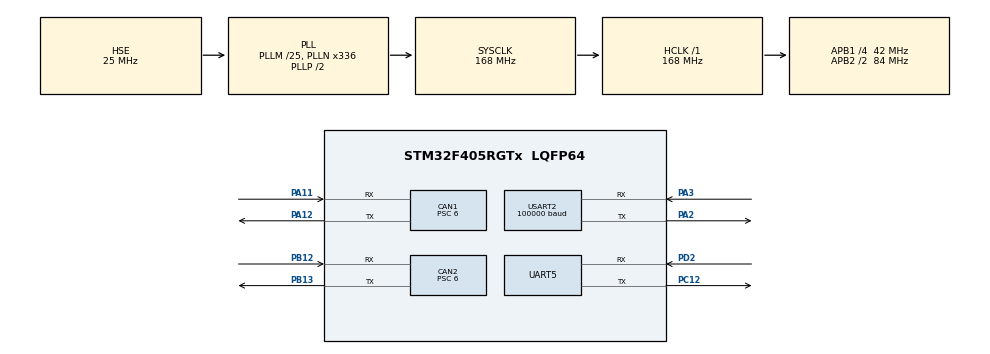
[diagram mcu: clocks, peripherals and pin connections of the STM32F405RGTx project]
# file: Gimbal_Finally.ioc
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CAN1.BS1=CAN_BS1_4TQ
CAN1.BS2=CAN_BS2_2TQ
CAN1.CalculateBaudRate=1000000
CAN1.CalculateTimeBit=1000
CAN1.CalculateTimeQuantum=142.85714285714286
CAN1.Prescaler=6
CAN2.BS1=CAN_BS1_4TQ
CAN2.BS2=CAN_BS2_2TQ
CAN2.CalculateBaudRate=1000000
CAN2.CalculateTimeBit=1000
CAN2.CalculateTimeQuantum=142.85714285714286
CAN2.Prescaler=6
Dma.Request0=USART2_RX
Dma.USART2_RX.0.Direction=DMA_PERIPH_TO_MEMORY
Dma.USART2_RX.0.FIFOMode=DMA_FIFOMODE_DISABLE
Dma.USART2_RX.0.Instance=DMA1_Stream5
Dma.USART2_RX.0.MemDataAlignment=DMA_MDATAALIGN_BYTE
Dma.USART2_RX.0.MemInc=DMA_MINC_ENABLE
Dma.USART2_RX.0.Mode=DMA_NORMAL
Dma.USART2_RX.0.PeriphDataAlignment=DMA_PDATAALIGN_BYTE
Dma.USART2_RX.0.PeriphInc=DMA_PINC_DISABLE
Dma.USART2_RX.0.Priority=DMA_PRIORITY_LOW
FREERTOS.BinarySemaphores01=Semaphone_Protection,Dynamic,NULL
FREERTOS.INCLUDE_vTaskDelayUntil=1
FREERTOS.Tasks01=CAN_Transmit_Ta,0,256,CAN_Transmit,Default,NULL,Dynamic,NULL,NULL;Semaphore_Task,-3,128,Semaphore,Default,NULL,Dynamic,NULL,NULL;PID_Calculate_T,-3,1280,PID_Calculation,Default,NULL,Dynamic,NULL,NULL;Mpu_Task,0,128,Mpu_Get,Default,NULL,Dynamic,NULL,NULL;Print_Task,-3,128,Print,Default,NULL,Dynamic,NULL,NULL;State_Machine_T,-3,128,State_Machine,Default,NULL,Dynamic,NULL,NULL
Mcu.Family=STM32F4
Mcu.Name=STM32F405RGTx
Mcu.Package=LQFP64
NVIC.CAN1_RX0_IRQn=true\:5\:0\:false\:false\:true\:true\:true\:true\:true
NVIC.CAN2_RX0_IRQn=true\:5\:0\:false\:false\:true\:true\:true\:true\:true
NVIC.DMA1_Stream5_IRQn=true\:5\:0\:false\:false\:true\:true\:false\:true\:true
NVIC.PriorityGroup=NVIC_PRIORITYGROUP_4
NVIC.TIM1_BRK_TIM9_IRQn=true\:15\:0\:false\:false\:true\:false\:false\:true\:true
NVIC.TimeBase=TIM1_BRK_TIM9_IRQn
NVIC.TimeBaseIP=TIM9
NVIC.USART2_IRQn=true\:5\:0\:false\:false\:true\:true\:true\:true\:true
PA11.Mode=CAN_Activate
PA11.Signal=CAN1_RX
PA12.Mode=CAN_Activate
PA12.Signal=CAN1_TX
PA13.Mode=Serial_Wire
PA13.Signal=SYS_JTMS-SWDIO
PA14.Mode=Serial_Wire
PA14.Signal=SYS_JTCK-SWCLK
PA2.Mode=Asynchronous
PA2.Signal=USART2_TX
PA3.Mode=Asynchronous
PA3.Signal=USART2_RX
PB12.Mode=CAN_Activate
PB12.Signal=CAN2_RX
PB13.Mode=CAN_Activate
PB13.Signal=CAN2_TX
PC12.Mode=Asynchronous
PC12.Signal=UART5_TX
PC14-OSC32_IN.Mode=LSE-External-Oscillator
PC14-OSC32_IN.Signal=RCC_OSC32_IN
PC15-OSC32_OUT.Mode=LSE-External-Oscillator
PC15-OSC32_OUT.Signal=RCC_OSC32_OUT
PD2.Mode=Asynchronous
PD2.Signal=UART5_RX
PH0-OSC_IN.Mode=HSE-External-Oscillator
PH0-OSC_IN.Signal=RCC_OSC_IN
PH1-OSC_OUT.Mode=HSE-External-Oscillator
PH1-OSC_OUT.Signal=RCC_OSC_OUT
ProjectManager.HeapSize=0x200
ProjectManager.StackSize=0x400
ProjectManager.TargetToolchain=MDK-ARM V5.32
RCC.48MHZClocksFreq_Value=84000000
RCC.AHBFreq_Value=168000000
RCC.APB1CLKDivider=RCC_HCLK_DIV4
RCC.APB1Freq_Value=42000000
RCC.APB1TimFreq_Value=84000000
RCC.APB2CLKDivider=RCC_HCLK_DIV2
RCC.APB2Freq_Value=84000000
RCC.APB2TimFreq_Value=168000000
RCC.CortexFreq_Value=168000000
RCC.HCLKFreq_Value=168000000
RCC.HSE_VALUE=25000000
RCC.HSI_VALUE=16000000
RCC.PLLM=25
RCC.PLLN=336
RCC.PLLSourceVirtual=RCC_PLLSOURCE_HSE
RCC.SYSCLKFreq_VALUE=168000000
RCC.SYSCLKSource=RCC_SYSCLKSOURCE_PLLCLK
RCC.VCOOutputFreq_Value=336000000
UART5.VirtualMode=Asynchronous
USART2.BaudRate=100000
USART2.Parity=PARITY_EVEN
USART2.VirtualMode=VM_ASYNC
USART2.WordLength=WORDLENGTH_9B
VP_FREERTOS_VS_CMSIS_V1.Mode=CMSIS_V1
VP_SYS_VS_tim9.Mode=TIM9
board=custom

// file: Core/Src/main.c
/* USER CODE BEGIN Header */
/**
 ******************************************************************************
 * @file           : main.c
 * @brief          : Main program body
 ******************************************************************************
 * @attention
 *
 * Copyright (c) 2024 STMicroelectronics.
 * All rights reserved.
 *
 * This software is licensed under terms that can be found in the LICENSE file
 * in the root directory of this software component.
 * If no LICENSE file comes with this software, it is provided AS-IS.
 *
 ******************************************************************************
 */
/* USER CODE END Header */
#include "main.h"
#include "cmsis_os.h"
#include "can.h"
#include "dma.h"
#include "usart.h"
#include "gpio.h"

/* USER CODE BEGIN Includes */
#include "freertos.h"
#include "task.h"
#include "MPU6050.h"
#include "inv_mpu.h"
#include "mycan.h"
/* USER CODE END Includes */

/* USER CODE BEGIN PTD */
#define LENGTH 100 // 宏定�??????
/* USER CODE END PTD */

/* USER CODE BEGIN PD */
extern uint8_t RxBuffer[];
/* USER CODE END PD */

void SystemClock_Config(void);
void MX_FREERTOS_Init(void);

int main(void)
{

  /* MCU Configuration--------------------------------------------------------*/

  /* Reset of all peripherals, Initializes the Flash interface and the Systick. */
  HAL_Init();

  /* Configure the system clock */
  SystemClock_Config();

  /* Initialize all configured peripherals */
  MX_GPIO_Init();
  MX_DMA_Init();
  MX_CAN1_Init();
  MX_CAN2_Init();
  MX_UART5_Init();
  MX_USART2_UART_Init();

  /* Call init function for freertos objects (in freertos.c) */
  MX_FREERTOS_Init();

  /* Start scheduler */
  osKernelStart();
  /* We should never get here as control is now taken by the scheduler */
  /* Infinite loop */
  while (1)
  {

  }
}

void SystemClock_Config(void)
{
  RCC_OscInitTypeDef RCC_OscInitStruct = {0};
  RCC_ClkInitTypeDef RCC_ClkInitStruct = {0};

  /** Configure the main internal regulator output voltage
   */
  __HAL_RCC_PWR_CLK_ENABLE();
  __HAL_PWR_VOLTAGESCALING_CONFIG(PWR_REGULATOR_VOLTAGE_SCALE1);

  /** Initializes the RCC Oscillators according to the specified parameters
   * in the RCC_OscInitTypeDef structure.
   */
  RCC_OscInitStruct.OscillatorType = RCC_OSCILLATORTYPE_HSE;
  RCC_OscInitStruct.HSEState = RCC_HSE_ON;
  RCC_OscInitStruct.PLL.PLLState = RCC_PLL_ON;
  RCC_OscInitStruct.PLL.PLLSource = RCC_PLLSOURCE_HSE;
  RCC_OscInitStruct.PLL.PLLM = 25;
  RCC_OscInitStruct.PLL.PLLN = 336;
  RCC_OscInitStruct.PLL.PLLP = RCC_PLLP_DIV2;
  RCC_OscInitStruct.PLL.PLLQ = 4;
  if (HAL_RCC_OscConfig(&RCC_OscInitStruct) != HAL_OK)
  {
    Error_Handler();
  }

  /** Initializes the CPU, AHB and APB buses clocks
   */
  RCC_ClkInitStruct.ClockType = RCC_CLOCKTYPE_HCLK | RCC_CLOCKTYPE_SYSCLK | RCC_CLOCKTYPE_PCLK1 | RCC_CLOCKTYPE_PCLK2;
  RCC_ClkInitStruct.SYSCLKSource = RCC_SYSCLKSOURCE_PLLCLK;
  RCC_ClkInitStruct.AHBCLKDivider = RCC_SYSCLK_DIV1;
  RCC_ClkInitStruct.APB1CLKDivider = RCC_HCLK_DIV4;
  RCC_ClkInitStruct.APB2CLKDivider = RCC_HCLK_DIV2;

  if (HAL_RCC_ClockConfig(&RCC_ClkInitStruct, FLASH_LATENCY_5) != HAL_OK)
  {
    Error_Handler();
  }
}

void HAL_TIM_PeriodElapsedCallback(TIM_HandleTypeDef *htim)
{
  if (htim->Instance == TIM9)
  {
    HAL_IncTick();
  }
}

void Error_Handler(void)
{
  __disable_irq();
  while (1)
  {
  }
}

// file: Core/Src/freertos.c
/* USER CODE BEGIN Header */
/**
 ******************************************************************************
 * File Name          : freertos.c
 * Description        : Code for freertos applications
 ******************************************************************************
 * @attention
 *
 * Copyright (c) 2024 STMicroelectronics.
 * All rights reserved.
 *
 * This software is licensed under terms that can be found in the LICENSE file
 * in the root directory of this software component.
 * If no LICENSE file comes with this software, it is provided AS-IS.
 *
 ******************************************************************************
 */
/* USER CODE END Header */

#include "FreeRTOS.h"
#include "task.h"
#include "main.h"
#include "cmsis_os.h"

/* USER CODE BEGIN Includes */
#include "motor_drive.h"
#include "queue.h"
/* USER CODE END Includes */

/* USER CODE BEGIN PTD */
extern volatile unsigned char sbus_rx_buffer[2][RC_FRAME_LENGTH];
/* USER CODE END PTD */

/* USER CODE BEGIN PD */

// dma接收长度
#define LENGTH 100

// can发�?�长�?????
#define Transmit_Length 8

// 摩擦�?????
//  左轮
#define FWStruct_TxID_L 0x200
// 右轮
#define FWStruct_TxID_R 0x200

// 拨盘
#define dialStruct_TxID 0x200

// yaw
#define YawStruct_TxID 0x2FF

// pitch
#define pitchStruct_TxID 0x1FF

// 摩擦轮�?�拨�?
#define FW_dial_TxID 0x200
/* USER CODE END PD */

/* USER CODE BEGIN PM */

typedef struct
{
  float DataBuff[3];
  uint8_t tail[4];
} DataBuffStructDef;
DataBuffStructDef DataBuffStruct = {0};

// DMA
uint8_t RxBuffer[LENGTH];
uint8_t RecCount = 0;
uint8_t RxFlag = 0;

// 输出保护变量
uint8_t output_protection = 0;

// justfloat打印定义数组
// uint8_t tail[4] = {0x00, 0x00, 0x80, 0x7F};

// 队列
QueueHandle_t QueueprintHandler;
/* USER CODE END PM */

osThreadId CAN_Transmit_TaHandle;
osThreadId Semaphore_TaskHandle;
osThreadId PID_Calculate_THandle;
osThreadId Mpu_TaskHandle;
osThreadId Print_TaskHandle;
osThreadId State_Machine_THandle;
osSemaphoreId Semaphone_ProtectionHandle;

void CAN_Transmit(void const *argument);
void Semaphore(void const *argument);
void PID_Calculation(void const *argument);
void Mpu_Get(void const *argument);
void Print(void const *argument);
void State_Machine(void const *argument);

void MX_FREERTOS_Init(void); /* (MISRA C 2004 rule 8.1) */

/* GetIdleTaskMemory prototype (linked to static allocation support) */
void vApplicationGetIdleTaskMemory(StaticTask_t **ppxIdleTaskTCBBuffer, StackType_t **ppxIdleTaskStackBuffer, uint32_t *pulIdleTaskStackSize);

/* USER CODE BEGIN GET_IDLE_TASK_MEMORY */
static StaticTask_t xIdleTaskTCBBuffer;
static StackType_t xIdleStack[configMINIMAL_STACK_SIZE];

void vApplicationGetIdleTaskMemory(StaticTask_t **ppxIdleTaskTCBBuffer, StackType_t **ppxIdleTaskStackBuffer, uint32_t *pulIdleTaskStackSize)
{
  *ppxIdleTaskTCBBuffer = &xIdleTaskTCBBuffer;
  *ppxIdleTaskStackBuffer = &xIdleStack[0];
  *pulIdleTaskStackSize = configMINIMAL_STACK_SIZE;
  /* place for user code */
}
/* USER CODE END GET_IDLE_TASK_MEMORY */

void MX_FREERTOS_Init(void)
{

  /* Create the semaphores(s) */
  /* definition and creation of Semaphone_Protection */
  osSemaphoreDef(Semaphone_Protection);
  Semaphone_ProtectionHandle = osSemaphoreCreate(osSemaphore(Semaphone_Protection), 1);

  /* USER CODE BEGIN RTOS_QUEUES */
  /* add queues, ... */
  QueueprintHandler = xQueueCreate(8, 4); // 创建队列
  /* USER CODE END RTOS_QUEUES */

  /* Create the thread(s) */
  /* definition and creation of CAN_Transmit_Ta */
  osThreadDef(CAN_Transmit_Ta, CAN_Transmit, osPriorityNormal, 0, 256);
  CAN_Transmit_TaHandle = osThreadCreate(osThread(CAN_Transmit_Ta), NULL);

  /* definition and creation of Semaphore_Task */
  osThreadDef(Semaphore_Task, Semaphore, osPriorityIdle, 0, 128);
  Semaphore_TaskHandle = osThreadCreate(osThread(Semaphore_Task), NULL);

  /* definition and creation of PID_Calculate_T */
  osThreadDef(PID_Calculate_T, PID_Calculation, osPriorityIdle, 0, 1280);
  PID_Calculate_THandle = osThreadCreate(osThread(PID_Calculate_T), NULL);

  /* definition and creation of Mpu_Task */
  osThreadDef(Mpu_Task, Mpu_Get, osPriorityNormal, 0, 128);
  Mpu_TaskHandle = osThreadCreate(osThread(Mpu_Task), NULL);

  /* definition and creation of Print_Task */
  osThreadDef(Print_Task, Print, osPriorityIdle, 0, 128);
  Print_TaskHandle = osThreadCreate(osThread(Print_Task), NULL);

  /* definition and creation of State_Machine_T */
  osThreadDef(State_Machine_T, State_Machine, osPriorityIdle, 0, 128);
  State_Machine_THandle = osThreadCreate(osThread(State_Machine_T), NULL);

}

void CAN_Transmit(void const *argument)
{
  /* USER CODE BEGIN CAN_Transmit */
  TickType_t xLastWakeTime;
  xLastWakeTime = xTaskGetTickCount(); // 定义类型，使用vTaskDelayUntil

  /* Infinite loop */
  for (;;)
  {

    //      		//发�?�左摩擦�??
    //    CAN1_Transmit(FWStruct_TxID_L, Transmit_Length, FWStruct.TxData_L);
    //    		//发�?�右摩擦�??
    //    CAN1_Transmit(FWStruct_TxID_R, Transmit_Length, FWStruct.TxData_R);
    //    // 发�?�dial
    //    CAN1_Transmit(dialStruct_TxID, Transmit_Length, dialStruct.TxData);
    //      	//yaw
    //    CAN2_Transmit(YawStruct_TxID, Transmit_Length, YawStruct.TxData);
    // 发�?�pitch
    CAN1_Transmit(pitchStruct_TxID, Transmit_Length, pitchStruct.TxData);
    //

    // CAN整体发�??
    // CAN1_Transmit(FW_dial_TxID, Transmit_Length, FW_dial_TxData);
    // CAN1_Transmit(pitchStruct_TxID, Transmit_Length, FW_dial_TxData);
    // CAN2_Transmit(YawStruct_TxID, Transmit_Length, FW_dial_TxData);

    vTaskDelayUntil(&xLastWakeTime, 1); // 延时
  }
  /* USER CODE END CAN_Transmit */
}

void Semaphore(void const *argument)
{
  /* USER CODE BEGIN Semaphore */
  __HAL_UART_ENABLE_IT(&huart2, UART_IT_IDLE);                // 使能中断
  HAL_UART_Receive_DMA(&huart2, (uint8_t *)RxBuffer, LENGTH); // 弿启DMA中断

  uint32_t tick_1 = 0;
  uint32_t tick_2 = 0;
  uint32_t tick_interval = 0;
  /* Infinite loop */
  for (;;)
  {
    tick_2 = HAL_GetTick(); // 获取当前时刻的tick�??????????????????
    if (xSemaphoreTake(Semaphone_ProtectionHandle, 100) == pdTRUE)
      tick_1 = HAL_GetTick();        // 再次获取
    tick_interval = tick_1 - tick_2; // 判断两次tick之间的时间差

    if (tick_interval < 100) // 如果小于100，说明在等待时间内获取了信号�??????????????????
    {
      // 获取遥控值并处理
      RemoteDataProcess(RxBuffer);
      output_protection = 1;
    }
    else
    // 如果大于等于100，说明为超时�??????????????????�??????????????????
    {
      memset(&RxBuffer, 0, sizeof(RxBuffer));
      output_protection = 0;
    }
    vTaskDelay(5);
  }
  /* USER CODE END Semaphore */
}

void PID_Calculation(void const *argument)
{
  /* USER CODE BEGIN PID_Calculation */

  // 注意把最大输出设置为0了，防止突然启动造成意外

  // Yaw初始�????????
  PID_Init(&YawStruct.pid_two.inner, 2000, 1000, 0, 0.0001, 0); // 初始化内环参�?????????
  PID_Init(&YawStruct.pid_two.outer, 2, 0, 0, 0, 0);            // 初始化外环参�?????????

  // Pitch初始�????????
  PID_Init(&pitchStruct.pid_two.inner, 700, 0, 0, 0, 25000); // 初始化内环参�?????????
  PID_Init(&pitchStruct.pid_two.outer, 13, 0, 0, 0, 25000);  // 初始化外环参�?????????

  // 摩擦轮pid初始�?????????
  PID_Init(&FWStruct.pid_one_L, 10, 0, 0, 0, 25000); // 左轮
  PID_Init(&FWStruct.pid_one_R, 10, 0, 0, 0, 25000); // 右轮

  // 拨盘初始�????????
  PID_Init(&dialStruct.pid_two.inner, 120, 0, 0, 0, 25000); // 初始化内环参�?????????
  PID_Init(&dialStruct.pid_two.outer, 9, 0, 45, 0, 25000);  // 初始化外环参�?????????

  HAL_CAN_Start(&hcan1); // 启动CAN
  HAL_CAN_Start(&hcan2);

  FilterInit(); // 配置过滤�??????

  HAL_CAN_ActivateNotification(&hcan1, CAN_IT_RX_FIFO0_MSG_PENDING); // 使能can接收中断
  HAL_CAN_ActivateNotification(&hcan2, CAN_IT_RX_FIFO0_MSG_PENDING); // 使能can接收中断

  /* Infinite loop */
  for (;;)
  {

    // 获取数�?�进行PID计算，并且进行数值位运算

    Yaw_Motor_Control(&YawStruct);
    Pitch_Motor_Control(&pitchStruct);
    FW_Motor_Control(&FWStruct);

    Dial_Motor_Control(&dialStruct);

    // 打印摩擦�??
    //    		//左轮
    //    		DataBuffStruct.DataBuff[0] = FWStruct.feedbackValue_L;
    //       DataBuffStruct.DataBuff[1] = FWStruct.targetValue_L;
    //       DataBuffStruct.DataBuff[2] = FWStruct.pid_one_L.output;
    //    		//右轮
    //    		DataBuffStruct.DataBuff[0] = FWStruct.feedbackValue_R;
    //        DataBuffStruct.DataBuff[1] = FWStruct.targetValue_R;
    //        DataBuffStruct.DataBuff[2] = FWStruct.pid_one_R.output;
    taskENTER_CRITICAL();
    //	    		//打印dial
    //	DataBuffStruct.DataBuff[0] = dialStruct.outerFeedback;
    //	DataBuffStruct.DataBuff[1] = dialStruct.outerTarget;
    //	DataBuffStruct.DataBuff[2] = dialStruct.pid_two.output;
    //
    //

    //
    //        		//打印yaw
    //						DataBuffStruct.DataBuff[0] = YawStruct.outerFeedback;
    //        		DataBuffStruct.DataBuff[0] = YawStruct.Angle;
    //            DataBuffStruct.DataBuff[1] = YawStruct.outerTarget;
    //            DataBuffStruct.DataBuff[2] = YawStruct.pid_two.output;
    //
    //    // 打印pitch
    DataBuffStruct.DataBuff[0] = pitchStruct.Angle;
    DataBuffStruct.DataBuff[1] = pitchStruct.outerTarget;
    DataBuffStruct.DataBuff[2] = pitchStruct.pid_two.output;

    //    xQueueSend(QueueprintHandler, (uint8_t *)&DataBuffStruct, 0);
    taskEXIT_CRITICAL();
    vTaskDelay(1);
  }
  /* USER CODE END PID_Calculation */
}

void Mpu_Get(void const *argument)
{
  /* USER CODE BEGIN Mpu_Get */
  MPU_Init();
  mpu_dmp_init();
  while (mpu_dmp_init())
  {
    MPU_Init();
    mpu_dmp_init();
  }
  /* Infinite loop */
  for (;;)
  {
    MPU_Get_Gyroscope(&gx, &gy, &gz);
    mpu_dmp_get_data(&mpu_pitch, &mpu_roll, &mpu_yaw);
    vTaskDelay(1);
  }

  // ptch轴为车的row�??
  // row轴为车的pitch轴，�??上面�??-22，最下面�??23      刻度值为2445 �??   1385
  // yaw轴对应车的yao的yaw轴，0�??180，突变为-180，再�??-0
  // gx对应pitch
  // gz对应yaw

  /* USER CODE END Mpu_Get */
}

void Print(void const *argument)
{
  /* USER CODE BEGIN Print */

  TickType_t xLastWakeTime;
  xLastWakeTime = xTaskGetTickCount(); // 定义类型，使用vTaskDelayUntil

  /* Infinite loop */
  for (;;)
  {
    vTaskDelayUntil(&xLastWakeTime, 2);

    DataBuffStruct.tail[0] = 0x00;
    DataBuffStruct.tail[1] = 0x00;
    DataBuffStruct.tail[2] = 0x80;
    DataBuffStruct.tail[3] = 0x7F;

    // justfloat打印
    HAL_UART_Transmit(&huart5, (uint8_t *)&DataBuffStruct, sizeof(DataBuffStruct), HAL_MAX_DELAY);
  }
  /* USER CODE END Print */
}

void State_Machine(void const *argument)
{
  /* USER CODE BEGIN State_Machine */
  TickType_t xLastWakeTime;
  xLastWakeTime = xTaskGetTickCount(); // 定义类型，使用vTaskDelayUntil

  static uint8_t flag = 0;

  /* Infinite loop */
  for (;;)
  {
    if (RC_CtrlData.rc.s2 == 3 && flag == 2)
    {
      flag = 0;
    }
    else if (RC_CtrlData.rc.s2 == 1 && flag == 0)
    {
      flag = 1;
      if (RC_CtrlData.rc.s2 == 1 && flag == 1)
      {
        dialStruct.outerTarget = dialStruct.outerFeedback + 40;
        flag = 2;
      }
    }
    else if (RC_CtrlData.rc.s2 == 2)
    {
      dialStruct.outerTarget = dialStruct.outerFeedback + 40;
    }

    vTaskDelayUntil(&xLastWakeTime, 50); // 延时
  }
  /* USER CODE END State_Machine */
}

/* USER CODE BEGIN Application */
void HAL_UART_RxCpltCallback(UART_HandleTypeDef *huart) // 串口中断回调函数
{
  if (huart->Instance == USART2)
  {
    HAL_UART_Receive_DMA(&huart2, (uint8_t *)RxBuffer, LENGTH);
  }
}

void HAL_UART_IdleCpltCallback(UART_HandleTypeDef *huart) // 空闲中断回调函数
{
  BaseType_t xHigherPriorityTaskWoken = pdFALSE;
  xSemaphoreGiveFromISR(Semaphone_ProtectionHandle, &xHigherPriorityTaskWoken);

  RxFlag = 1;
  HAL_UART_DMAStop(&huart2); // 关闭DMA，每次空闲都会进函数

  if (RxFlag == 1)
  {
    RxFlag = 0;
    RecCount = LENGTH - __HAL_DMA_GET_COUNTER(&hdma_usart2_rx);
    RecCount = 0;
    HAL_UART_Receive_DMA(&huart2, (uint8_t *)RxBuffer, LENGTH);
  }
}
/* USER CODE END Application */
